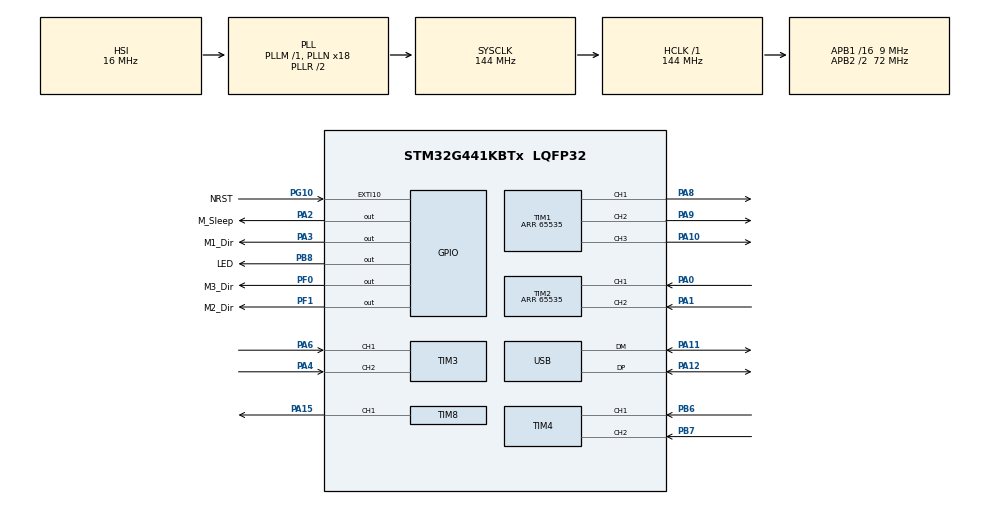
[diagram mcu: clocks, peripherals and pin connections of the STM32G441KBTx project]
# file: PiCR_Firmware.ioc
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Mcu.Family=STM32G4
Mcu.Name=STM32G441KBTx
Mcu.Package=LQFP32
NVIC.PriorityGroup=NVIC_PRIORITYGROUP_4
NVIC.TIM6_DAC_IRQn=true\:0\:0\:false\:false\:true\:true\:true\:true
NVIC.USB_LP_IRQn=true\:0\:0\:false\:false\:true\:false\:true\:true
PA0.Signal=S_TIM2_CH1
PA1.Signal=S_TIM2_CH2
PA10.Signal=S_TIM1_CH3
PA11.Mode=Device
PA11.Signal=USB_DM
PA12.Mode=Device
PA12.Signal=USB_DP
PA13.Mode=Serial_Wire
PA13.Signal=SYS_JTMS-SWDIO
PA14.Mode=Serial_Wire
PA14.Signal=SYS_JTCK-SWCLK
PA15.Signal=S_TIM8_CH1
PA2.GPIO_Label=M_Sleep
PA2.Signal=GPIO_Output
PA3.GPIO_Label=M1_Dir
PA3.Signal=GPIO_Output
PA4.Signal=S_TIM3_CH2
PA6.Signal=S_TIM3_CH1
PA8.Signal=S_TIM1_CH1
PA9.Signal=S_TIM1_CH2
PB6.Signal=S_TIM4_CH1
PB7.Signal=S_TIM4_CH2
PB8-BOOT0.GPIO_Label=LED
PB8-BOOT0.Signal=GPIO_Output
PF0-OSC_IN.GPIO_Label=M3_Dir
PF0-OSC_IN.Signal=GPIO_Output
PF1-OSC_OUT.GPIO_Label=M2_Dir
PF1-OSC_OUT.Signal=GPIO_Output
PG10-NRST.GPIO_Label=NRST
PG10-NRST.Signal=GPXTI10
ProjectManager.HeapSize=0x200
ProjectManager.StackSize=0x400
ProjectManager.TargetToolchain=STM32CubeIDE
RCC.ADC12Freq_Value=144000000
RCC.AHBFreq_Value=144000000
RCC.APB1CLKDivider=RCC_HCLK_DIV16
RCC.APB1Freq_Value=9000000
RCC.APB1TimFreq_Value=18000000
RCC.APB2CLKDivider=RCC_HCLK_DIV2
RCC.APB2Freq_Value=72000000
RCC.APB2TimFreq_Value=144000000
RCC.CortexFreq_Value=144000000
RCC.EXTERNAL_CLOCK_VALUE=12288000
RCC.HCLKFreq_Value=144000000
RCC.HSE_VALUE=8000000
RCC.HSI48_VALUE=48000000
RCC.HSI_VALUE=16000000
RCC.LSE_VALUE=32768
RCC.PLLN=18
RCC.PLLQ=RCC_PLLQ_DIV6
RCC.SYSCLKFreq_VALUE=144000000
RCC.SYSCLKSource=RCC_SYSCLKSOURCE_PLLCLK
RCC.USBFreq_Value=48000000
RCC.VCOOutputFreq_Value=288000000
SH.S_TIM1_CH1.0=TIM1_CH1,PWM Generation1 CH1
SH.S_TIM1_CH2.0=TIM1_CH2,PWM Generation2 CH2
SH.S_TIM1_CH3.0=TIM1_CH3,PWM Generation3 CH3
SH.S_TIM2_CH1.0=TIM2_CH1,Encoder_Interface
SH.S_TIM2_CH2.0=TIM2_CH2,Encoder_Interface
SH.S_TIM3_CH1.0=TIM3_CH1,Encoder_Interface
SH.S_TIM3_CH2.0=TIM3_CH2,Encoder_Interface
SH.S_TIM4_CH1.0=TIM4_CH1,Encoder_Interface
SH.S_TIM4_CH2.0=TIM4_CH2,Encoder_Interface
SH.S_TIM8_CH1.0=TIM8_CH1,PWM Generation1 CH1
TIM1.Channel-PWM\ Generation1\ CH1=TIM_CHANNEL_1
TIM1.Channel-PWM\ Generation2\ CH2=TIM_CHANNEL_2
TIM1.Channel-PWM\ Generation3\ CH3=TIM_CHANNEL_3
TIM1.PeriodNoDither=65535
TIM2.EncoderMode=TIM_ENCODERMODE_TI12
TIM2.PeriodNoDither=65535
TIM3.EncoderMode=TIM_ENCODERMODE_TI12
TIM4.EncoderMode=TIM_ENCODERMODE_TI12
TIM6.PeriodNoDither=17999
TIM6.Prescaler=9
TIM8.Channel-PWM\ Generation1\ CH1=TIM_CHANNEL_1
TIM8.Prescaler=199
USB_DEVICE.CLASS_NAME_FS=CDC
USB_DEVICE.VirtualMode=Cdc
USB_DEVICE.VirtualModeFS=Cdc_FS
VP_TIM6_VS_ClockSourceINT.Mode=Enable_Timer
VP_USB_DEVICE_VS_USB_DEVICE_CDC_FS.Mode=CDC_FS
board=custom

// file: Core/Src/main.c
/* USER CODE BEGIN Header */
/**
 ******************************************************************************
 * @file           : main.c
 * @brief          : Main program body
 ******************************************************************************
 * @attention
 *
 * Copyright (c) 2022 STMicroelectronics.
 * All rights reserved.
 *
 * This software is licensed under terms that can be found in the LICENSE file
 * in the root directory of this software component.
 * If no LICENSE file comes with this software, it is provided AS-IS.
 *
 ******************************************************************************
 */
/* USER CODE END Header */
#include "main.h"
#include "usb_device.h"

/* USER CODE BEGIN Includes */
#include "usbd_cdc_if.h"
#include "stm32g4xx_hal_tim.h"
/* USER CODE END Includes */

/* USER CODE BEGIN PTD */
typedef struct __attribute__((packed)) Command {
	int16_t speed1;
	int16_t speed2;
	int16_t speed3;
	uint16_t throwerSpeed;
	uint16_t delimiter;
} Command;

typedef struct Feedback {
	int16_t speed1;
	int16_t speed2;
	int16_t speed3;
	uint16_t delimiter;
} Feedback;

typedef struct MotorControl {
	int16_t speed;
	int16_t prevPosition;
	int32_t integral;
	int16_t prevError;
} MotorControl;

// Timer frequency (100 Hz)
// uint8_t periodMs = 10;

uint8_t callCount = 0;

/* USER CODE END PTD */

TIM_HandleTypeDef htim1;
TIM_HandleTypeDef htim2;
TIM_HandleTypeDef htim3;
TIM_HandleTypeDef htim4;
TIM_HandleTypeDef htim6;
TIM_HandleTypeDef htim8;

/* USER CODE BEGIN PV */
Command command = { .speed1 = 0, .speed2 = 0, .speed3 = 0, .throwerSpeed = 0,
		.delimiter = 0 };

volatile uint8_t isCommandReceived = 0;

MotorControl motor1Control = { .speed = 0, .prevPosition = 0, .integral = 0,
		.prevError = 0 };
MotorControl motor2Control = { .speed = 0, .prevPosition = 0, .integral = 0,
		.prevError = 0 };
MotorControl motor3Control = { .speed = 0, .prevPosition = 0, .integral = 0,
		.prevError = 0 };
/* USER CODE END PV */

void SystemClock_Config(void);
static void MX_GPIO_Init(void);
static void MX_TIM1_Init(void);
static void MX_TIM2_Init(void);
static void MX_TIM3_Init(void);
static void MX_TIM4_Init(void);
static void MX_TIM8_Init(void);
static void MX_TIM6_Init(void);

/* USER CODE BEGIN 0 */

int32_t clamp(int32_t value, int32_t min, int32_t max) {
	if (value > max) {
		return max;
	}

	if (value < min) {
		return min;
	}
	return value;
}

void CDC_On_Receive(uint8_t *buffer, uint32_t *length) {
	if (*length == sizeof(Command)) {
		memcpy(&command, buffer, sizeof(Command));

		if (command.delimiter == 0xAAAA) {
			isCommandReceived = 1;
		}
	}
}

int16_t CalculatePID(int16_t motorPosition, MotorControl *motorControl,
		int16_t targetSpeed) {
	float Kp = 3000;
	float Ki = 675;
	float Kd = 0;

	int32_t motorPositionDelta = motorPosition - motorControl->prevPosition;
	motorControl->speed = motorPositionDelta;
	motorControl->prevPosition = motorPosition;

	int32_t motorSpeedError = targetSpeed - motorPositionDelta;

	motorControl->integral += motorSpeedError;

	int32_t motorDerivative = motorControl->prevError - motorSpeedError;

	return motorSpeedError * Kp + motorControl->integral * Ki
			+ motorDerivative * Kd;
}

void HAL_TIM_PeriodElapsedCallback(TIM_HandleTypeDef *htim) {
	int32_t motor1PWM = CalculatePID((int16_t) TIM2->CNT, &motor1Control,
			command.speed1);
	int32_t motor2PWM = CalculatePID((int16_t) TIM3->CNT, &motor2Control,
			command.speed2);
	int32_t motor3PWM = CalculatePID((int16_t) TIM4->CNT, &motor3Control,
			command.speed3);

	HAL_GPIO_WritePin(M1_Dir_GPIO_Port, M1_Dir_Pin,
			(motor1PWM < 0) ? GPIO_PIN_SET : GPIO_PIN_RESET);
	TIM1->CCR1 = (uint16_t) clamp((motor1PWM < 0) ? -motor1PWM : motor1PWM, 0,
			65535);

	HAL_GPIO_WritePin(M2_Dir_GPIO_Port, M2_Dir_Pin,
			(motor2PWM < 0) ? GPIO_PIN_SET : GPIO_PIN_RESET);
	TIM1->CCR2 = (uint16_t) clamp((motor2PWM < 0) ? -motor2PWM : motor2PWM, 0,
			65535);

	HAL_GPIO_WritePin(M3_Dir_GPIO_Port, M3_Dir_Pin,
			(motor3PWM < 0) ? GPIO_PIN_SET : GPIO_PIN_RESET);
	TIM1->CCR3 = (uint16_t) clamp((motor3PWM < 0) ? -motor3PWM : motor3PWM, 0,
			65535);

	callCount++;

	if (callCount >= 50) {
		callCount = 0;

		command.speed1 = 0;
		command.speed2 = 0;
		command.speed3 = 0;

		motor1Control.integral = 0;
		motor2Control.integral = 0;
		motor3Control.integral = 0;

		motor1Control.prevError = 0;
		motor2Control.prevError = 0;
		motor3Control.prevError = 0;

		motor1Control.prevPosition = 0;
		motor2Control.prevPosition = 0;
		motor3Control.prevPosition = 0;

		TIM1->CCR1 = 0;
		TIM1->CCR2 = 0;
		TIM1->CCR3 = 0;
	}
}

int _write(int file, char *ptr, int len) {
	/* Implement your write code here, this is used by puts and printf for example */
	int i = 0;
	for (i = 0; i < len; i++)
		ITM_SendChar((*ptr++));
	return len;
}
/* USER CODE END 0 */

int main(void)
{

  /* MCU Configuration--------------------------------------------------------*/

  /* Reset of all peripherals, Initializes the Flash interface and the Systick. */
  HAL_Init();

  /* Configure the system clock */
  SystemClock_Config();

  /* Initialize all configured peripherals */
  MX_GPIO_Init();
  MX_USB_Device_Init();
  MX_TIM1_Init();
  MX_TIM2_Init();
  MX_TIM3_Init();
  MX_TIM4_Init();
  MX_TIM8_Init();
  MX_TIM6_Init();
  /* USER CODE BEGIN 2 */
	Feedback feedback = { .speed1 = 0, .speed2 = 0, .speed3 = 0, .delimiter =
			0xAAAA };

	HAL_TIM_Encoder_Start(&htim2, TIM_CHANNEL_1 | TIM_CHANNEL_2);
	HAL_TIM_Encoder_Start(&htim3, TIM_CHANNEL_1 | TIM_CHANNEL_2);
	HAL_TIM_Encoder_Start(&htim4, TIM_CHANNEL_1 | TIM_CHANNEL_2);

	HAL_TIM_PWM_Start(&htim1, TIM_CHANNEL_1 | TIM_CHANNEL_2 | TIM_CHANNEL_3);

	HAL_GPIO_WritePin(M_Sleep_GPIO_Port, M_Sleep_Pin, GPIO_PIN_SET);

	//HAL_TIM_Base_Start_IT(&htim6);
  /* USER CODE END 2 */

  /* Infinite loop */
  /* USER CODE BEGIN WHILE */
	while (1) {
		//HAL_GPIO_WritePin(LED_GPIO_Port, LED_Pin, GPIO_PIN_SET);
    /* USER CODE END WHILE */

    /* USER CODE BEGIN 3 */
		feedback.speed1 = motor1Control.speed;
		feedback.speed2 = motor2Control.speed;
		feedback.speed3 = motor3Control.speed;

		CDC_Transmit_FS((uint8_t*) &feedback, sizeof(feedback));

		TIM1->CCR1 = 256;
		TIM1->CCR2 = 256;
		TIM1->CCR3 = 256;

		if (isCommandReceived) { // (2)
			isCommandReceived = 0;
			HAL_GPIO_TogglePin(LED_GPIO_Port, LED_Pin);

			feedback.speed1 = motor1Control.speed;
			feedback.speed2 = motor2Control.speed;
			feedback.speed3 = motor3Control.speed;

			CDC_Transmit_FS((uint8_t*) &feedback, sizeof(feedback));
		}
		HAL_Delay(250);
	}
  /* USER CODE END 3 */
}

void SystemClock_Config(void)
{
  RCC_OscInitTypeDef RCC_OscInitStruct = {0};
  RCC_ClkInitTypeDef RCC_ClkInitStruct = {0};

  /** Configure the main internal regulator output voltage
  */
  HAL_PWREx_ControlVoltageScaling(PWR_REGULATOR_VOLTAGE_SCALE1);

  /** Initializes the RCC Oscillators according to the specified parameters
  * in the RCC_OscInitTypeDef structure.
  */
  RCC_OscInitStruct.OscillatorType = RCC_OSCILLATORTYPE_HSI;
  RCC_OscInitStruct.HSIState = RCC_HSI_ON;
  RCC_OscInitStruct.HSICalibrationValue = RCC_HSICALIBRATION_DEFAULT;
  RCC_OscInitStruct.PLL.PLLState = RCC_PLL_ON;
  RCC_OscInitStruct.PLL.PLLSource = RCC_PLLSOURCE_HSI;
  RCC_OscInitStruct.PLL.PLLM = RCC_PLLM_DIV1;
  RCC_OscInitStruct.PLL.PLLN = 18;
  RCC_OscInitStruct.PLL.PLLP = RCC_PLLP_DIV2;
  RCC_OscInitStruct.PLL.PLLQ = RCC_PLLQ_DIV6;
  RCC_OscInitStruct.PLL.PLLR = RCC_PLLR_DIV2;
  if (HAL_RCC_OscConfig(&RCC_OscInitStruct) != HAL_OK)
  {
    Error_Handler();
  }

  /** Initializes the CPU, AHB and APB buses clocks
  */
  RCC_ClkInitStruct.ClockType = RCC_CLOCKTYPE_HCLK|RCC_CLOCKTYPE_SYSCLK
                              |RCC_CLOCKTYPE_PCLK1|RCC_CLOCKTYPE_PCLK2;
  RCC_ClkInitStruct.SYSCLKSource = RCC_SYSCLKSOURCE_PLLCLK;
  RCC_ClkInitStruct.AHBCLKDivider = RCC_SYSCLK_DIV1;
  RCC_ClkInitStruct.APB1CLKDivider = RCC_HCLK_DIV16;
  RCC_ClkInitStruct.APB2CLKDivider = RCC_HCLK_DIV2;

  if (HAL_RCC_ClockConfig(&RCC_ClkInitStruct, FLASH_LATENCY_4) != HAL_OK)
  {
    Error_Handler();
  }
}

static void MX_TIM1_Init(void)
{

  TIM_MasterConfigTypeDef sMasterConfig = {0};
  TIM_OC_InitTypeDef sConfigOC = {0};
  TIM_BreakDeadTimeConfigTypeDef sBreakDeadTimeConfig = {0};

  htim1.Instance = TIM1;
  htim1.Init.Prescaler = 0;
  htim1.Init.CounterMode = TIM_COUNTERMODE_UP;
  htim1.Init.Period = 65535;
  htim1.Init.ClockDivision = TIM_CLOCKDIVISION_DIV1;
  htim1.Init.RepetitionCounter = 0;
  htim1.Init.AutoReloadPreload = TIM_AUTORELOAD_PRELOAD_DISABLE;
  if (HAL_TIM_PWM_Init(&htim1) != HAL_OK)
  {
    Error_Handler();
  }
  sMasterConfig.MasterOutputTrigger = TIM_TRGO_RESET;
  sMasterConfig.MasterOutputTrigger2 = TIM_TRGO2_RESET;
  sMasterConfig.MasterSlaveMode = TIM_MASTERSLAVEMODE_DISABLE;
  if (HAL_TIMEx_MasterConfigSynchronization(&htim1, &sMasterConfig) != HAL_OK)
  {
    Error_Handler();
  }
  sConfigOC.OCMode = TIM_OCMODE_PWM1;
  sConfigOC.Pulse = 0;
  sConfigOC.OCPolarity = TIM_OCPOLARITY_HIGH;
  sConfigOC.OCNPolarity = TIM_OCNPOLARITY_HIGH;
  sConfigOC.OCFastMode = TIM_OCFAST_DISABLE;
  sConfigOC.OCIdleState = TIM_OCIDLESTATE_RESET;
  sConfigOC.OCNIdleState = TIM_OCNIDLESTATE_RESET;
  if (HAL_TIM_PWM_ConfigChannel(&htim1, &sConfigOC, TIM_CHANNEL_1) != HAL_OK)
  {
    Error_Handler();
  }
  if (HAL_TIM_PWM_ConfigChannel(&htim1, &sConfigOC, TIM_CHANNEL_2) != HAL_OK)
  {
    Error_Handler();
  }
  if (HAL_TIM_PWM_ConfigChannel(&htim1, &sConfigOC, TIM_CHANNEL_3) != HAL_OK)
  {
    Error_Handler();
  }
  sBreakDeadTimeConfig.OffStateRunMode = TIM_OSSR_DISABLE;
  sBreakDeadTimeConfig.OffStateIDLEMode = TIM_OSSI_DISABLE;
  sBreakDeadTimeConfig.LockLevel = TIM_LOCKLEVEL_OFF;
  sBreakDeadTimeConfig.DeadTime = 0;
  sBreakDeadTimeConfig.BreakState = TIM_BREAK_DISABLE;
  sBreakDeadTimeConfig.BreakPolarity = TIM_BREAKPOLARITY_HIGH;
  sBreakDeadTimeConfig.BreakFilter = 0;
  sBreakDeadTimeConfig.BreakAFMode = TIM_BREAK_AFMODE_INPUT;
  sBreakDeadTimeConfig.Break2State = TIM_BREAK2_DISABLE;
  sBreakDeadTimeConfig.Break2Polarity = TIM_BREAK2POLARITY_HIGH;
  sBreakDeadTimeConfig.Break2Filter = 0;
  sBreakDeadTimeConfig.Break2AFMode = TIM_BREAK_AFMODE_INPUT;
  sBreakDeadTimeConfig.AutomaticOutput = TIM_AUTOMATICOUTPUT_DISABLE;
  if (HAL_TIMEx_ConfigBreakDeadTime(&htim1, &sBreakDeadTimeConfig) != HAL_OK)
  {
    Error_Handler();
  }
  HAL_TIM_MspPostInit(&htim1);

}

static void MX_TIM2_Init(void)
{

  TIM_Encoder_InitTypeDef sConfig = {0};
  TIM_MasterConfigTypeDef sMasterConfig = {0};

  htim2.Instance = TIM2;
  htim2.Init.Prescaler = 0;
  htim2.Init.CounterMode = TIM_COUNTERMODE_UP;
  htim2.Init.Period = 65535;
  htim2.Init.ClockDivision = TIM_CLOCKDIVISION_DIV1;
  htim2.Init.AutoReloadPreload = TIM_AUTORELOAD_PRELOAD_DISABLE;
  sConfig.EncoderMode = TIM_ENCODERMODE_TI12;
  sConfig.IC1Polarity = TIM_ICPOLARITY_RISING;
  sConfig.IC1Selection = TIM_ICSELECTION_DIRECTTI;
  sConfig.IC1Prescaler = TIM_ICPSC_DIV1;
  sConfig.IC1Filter = 0;
  sConfig.IC2Polarity = TIM_ICPOLARITY_RISING;
  sConfig.IC2Selection = TIM_ICSELECTION_DIRECTTI;
  sConfig.IC2Prescaler = TIM_ICPSC_DIV1;
  sConfig.IC2Filter = 0;
  if (HAL_TIM_Encoder_Init(&htim2, &sConfig) != HAL_OK)
  {
    Error_Handler();
  }
  sMasterConfig.MasterOutputTrigger = TIM_TRGO_RESET;
  sMasterConfig.MasterSlaveMode = TIM_MASTERSLAVEMODE_DISABLE;
  if (HAL_TIMEx_MasterConfigSynchronization(&htim2, &sMasterConfig) != HAL_OK)
  {
    Error_Handler();
  }

}

static void MX_TIM3_Init(void)
{

  TIM_Encoder_InitTypeDef sConfig = {0};
  TIM_MasterConfigTypeDef sMasterConfig = {0};

  htim3.Instance = TIM3;
  htim3.Init.Prescaler = 0;
  htim3.Init.CounterMode = TIM_COUNTERMODE_UP;
  htim3.Init.Period = 65535;
  htim3.Init.ClockDivision = TIM_CLOCKDIVISION_DIV1;
  htim3.Init.AutoReloadPreload = TIM_AUTORELOAD_PRELOAD_DISABLE;
  sConfig.EncoderMode = TIM_ENCODERMODE_TI12;
  sConfig.IC1Polarity = TIM_ICPOLARITY_RISING;
  sConfig.IC1Selection = TIM_ICSELECTION_DIRECTTI;
  sConfig.IC1Prescaler = TIM_ICPSC_DIV1;
  sConfig.IC1Filter = 0;
  sConfig.IC2Polarity = TIM_ICPOLARITY_RISING;
  sConfig.IC2Selection = TIM_ICSELECTION_DIRECTTI;
  sConfig.IC2Prescaler = TIM_ICPSC_DIV1;
  sConfig.IC2Filter = 0;
  if (HAL_TIM_Encoder_Init(&htim3, &sConfig) != HAL_OK)
  {
    Error_Handler();
  }
  sMasterConfig.MasterOutputTrigger = TIM_TRGO_RESET;
  sMasterConfig.MasterSlaveMode = TIM_MASTERSLAVEMODE_DISABLE;
  if (HAL_TIMEx_MasterConfigSynchronization(&htim3, &sMasterConfig) != HAL_OK)
  {
    Error_Handler();
  }

}

static void MX_TIM4_Init(void)
{

  TIM_Encoder_InitTypeDef sConfig = {0};
  TIM_MasterConfigTypeDef sMasterConfig = {0};

  htim4.Instance = TIM4;
  htim4.Init.Prescaler = 0;
  htim4.Init.CounterMode = TIM_COUNTERMODE_UP;
  htim4.Init.Period = 65535;
  htim4.Init.ClockDivision = TIM_CLOCKDIVISION_DIV1;
  htim4.Init.AutoReloadPreload = TIM_AUTORELOAD_PRELOAD_DISABLE;
  sConfig.EncoderMode = TIM_ENCODERMODE_TI12;
  sConfig.IC1Polarity = TIM_ICPOLARITY_RISING;
  sConfig.IC1Selection = TIM_ICSELECTION_DIRECTTI;
  sConfig.IC1Prescaler = TIM_ICPSC_DIV1;
  sConfig.IC1Filter = 0;
  sConfig.IC2Polarity = TIM_ICPOLARITY_RISING;
  sConfig.IC2Selection = TIM_ICSELECTION_DIRECTTI;
  sConfig.IC2Prescaler = TIM_ICPSC_DIV1;
  sConfig.IC2Filter = 0;
  if (HAL_TIM_Encoder_Init(&htim4, &sConfig) != HAL_OK)
  {
    Error_Handler();
  }
  sMasterConfig.MasterOutputTrigger = TIM_TRGO_RESET;
  sMasterConfig.MasterSlaveMode = TIM_MASTERSLAVEMODE_DISABLE;
  if (HAL_TIMEx_MasterConfigSynchronization(&htim4, &sMasterConfig) != HAL_OK)
  {
    Error_Handler();
  }

}

static void MX_TIM6_Init(void)
{

  TIM_MasterConfigTypeDef sMasterConfig = {0};

  htim6.Instance = TIM6;
  htim6.Init.Prescaler = 9;
  htim6.Init.CounterMode = TIM_COUNTERMODE_UP;
  htim6.Init.Period = 17999;
  htim6.Init.AutoReloadPreload = TIM_AUTORELOAD_PRELOAD_DISABLE;
  if (HAL_TIM_Base_Init(&htim6) != HAL_OK)
  {
    Error_Handler();
  }
  sMasterConfig.MasterOutputTrigger = TIM_TRGO_RESET;
  sMasterConfig.MasterSlaveMode = TIM_MASTERSLAVEMODE_DISABLE;
  if (HAL_TIMEx_MasterConfigSynchronization(&htim6, &sMasterConfig) != HAL_OK)
  {
    Error_Handler();
  }

}

static void MX_TIM8_Init(void)
{

  TIM_MasterConfigTypeDef sMasterConfig = {0};
  TIM_OC_InitTypeDef sConfigOC = {0};
  TIM_BreakDeadTimeConfigTypeDef sBreakDeadTimeConfig = {0};

  htim8.Instance = TIM8;
  htim8.Init.Prescaler = 199;
  htim8.Init.CounterMode = TIM_COUNTERMODE_UP;
  htim8.Init.Period = 65535;
  htim8.Init.ClockDivision = TIM_CLOCKDIVISION_DIV1;
  htim8.Init.RepetitionCounter = 0;
  htim8.Init.AutoReloadPreload = TIM_AUTORELOAD_PRELOAD_DISABLE;
  if (HAL_TIM_PWM_Init(&htim8) != HAL_OK)
  {
    Error_Handler();
  }
  sMasterConfig.MasterOutputTrigger = TIM_TRGO_RESET;
  sMasterConfig.MasterOutputTrigger2 = TIM_TRGO2_RESET;
  sMasterConfig.MasterSlaveMode = TIM_MASTERSLAVEMODE_DISABLE;
  if (HAL_TIMEx_MasterConfigSynchronization(&htim8, &sMasterConfig) != HAL_OK)
  {
    Error_Handler();
  }
  sConfigOC.OCMode = TIM_OCMODE_PWM1;
  sConfigOC.Pulse = 0;
  sConfigOC.OCPolarity = TIM_OCPOLARITY_HIGH;
  sConfigOC.OCNPolarity = TIM_OCNPOLARITY_HIGH;
  sConfigOC.OCFastMode = TIM_OCFAST_DISABLE;
  sConfigOC.OCIdleState = TIM_OCIDLESTATE_RESET;
  sConfigOC.OCNIdleState = TIM_OCNIDLESTATE_RESET;
  if (HAL_TIM_PWM_ConfigChannel(&htim8, &sConfigOC, TIM_CHANNEL_1) != HAL_OK)
  {
    Error_Handler();
  }
  sBreakDeadTimeConfig.OffStateRunMode = TIM_OSSR_DISABLE;
  sBreakDeadTimeConfig.OffStateIDLEMode = TIM_OSSI_DISABLE;
  sBreakDeadTimeConfig.LockLevel = TIM_LOCKLEVEL_OFF;
  sBreakDeadTimeConfig.DeadTime = 0;
  sBreakDeadTimeConfig.BreakState = TIM_BREAK_DISABLE;
  sBreakDeadTimeConfig.BreakPolarity = TIM_BREAKPOLARITY_HIGH;
  sBreakDeadTimeConfig.BreakFilter = 0;
  sBreakDeadTimeConfig.BreakAFMode = TIM_BREAK_AFMODE_INPUT;
  sBreakDeadTimeConfig.Break2State = TIM_BREAK2_DISABLE;
  sBreakDeadTimeConfig.Break2Polarity = TIM_BREAK2POLARITY_HIGH;
  sBreakDeadTimeConfig.Break2Filter = 0;
  sBreakDeadTimeConfig.Break2AFMode = TIM_BREAK_AFMODE_INPUT;
  sBreakDeadTimeConfig.AutomaticOutput = TIM_AUTOMATICOUTPUT_DISABLE;
  if (HAL_TIMEx_ConfigBreakDeadTime(&htim8, &sBreakDeadTimeConfig) != HAL_OK)
  {
    Error_Handler();
  }
  HAL_TIM_MspPostInit(&htim8);

}

static void MX_GPIO_Init(void)
{
  GPIO_InitTypeDef GPIO_InitStruct = {0};

  /* GPIO Ports Clock Enable */
  __HAL_RCC_GPIOF_CLK_ENABLE();
  __HAL_RCC_GPIOG_CLK_ENABLE();
  __HAL_RCC_GPIOA_CLK_ENABLE();
  __HAL_RCC_GPIOB_CLK_ENABLE();

  /*Configure GPIO pin Output Level */
  HAL_GPIO_WritePin(GPIOF, M3_Dir_Pin|M2_Dir_Pin, GPIO_PIN_RESET);

  /*Configure GPIO pin Output Level */
  HAL_GPIO_WritePin(GPIOA, M_Sleep_Pin|M1_Dir_Pin, GPIO_PIN_RESET);

  /*Configure GPIO pin Output Level */
  HAL_GPIO_WritePin(LED_GPIO_Port, LED_Pin, GPIO_PIN_RESET);

  /*Configure GPIO pins : M3_Dir_Pin M2_Dir_Pin */
  GPIO_InitStruct.Pin = M3_Dir_Pin|M2_Dir_Pin;
  GPIO_InitStruct.Mode = GPIO_MODE_OUTPUT_PP;
  GPIO_InitStruct.Pull = GPIO_NOPULL;
  GPIO_InitStruct.Speed = GPIO_SPEED_FREQ_LOW;
  HAL_GPIO_Init(GPIOF, &GPIO_InitStruct);

  /*Configure GPIO pin : NRST_Pin */
  GPIO_InitStruct.Pin = NRST_Pin;
  GPIO_InitStruct.Mode = GPIO_MODE_IT_RISING;
  GPIO_InitStruct.Pull = GPIO_NOPULL;
  HAL_GPIO_Init(NRST_GPIO_Port, &GPIO_InitStruct);

  /*Configure GPIO pins : M_Sleep_Pin M1_Dir_Pin */
  GPIO_InitStruct.Pin = M_Sleep_Pin|M1_Dir_Pin;
  GPIO_InitStruct.Mode = GPIO_MODE_OUTPUT_PP;
  GPIO_InitStruct.Pull = GPIO_NOPULL;
  GPIO_InitStruct.Speed = GPIO_SPEED_FREQ_LOW;
  HAL_GPIO_Init(GPIOA, &GPIO_InitStruct);

  /*Configure GPIO pin : LED_Pin */
  GPIO_InitStruct.Pin = LED_Pin;
  GPIO_InitStruct.Mode = GPIO_MODE_OUTPUT_PP;
  GPIO_InitStruct.Pull = GPIO_NOPULL;
  GPIO_InitStruct.Speed = GPIO_SPEED_FREQ_LOW;
  HAL_GPIO_Init(LED_GPIO_Port, &GPIO_InitStruct);

}

void Error_Handler(void)
{
	__disable_irq();
	while (1) {
	}
}
